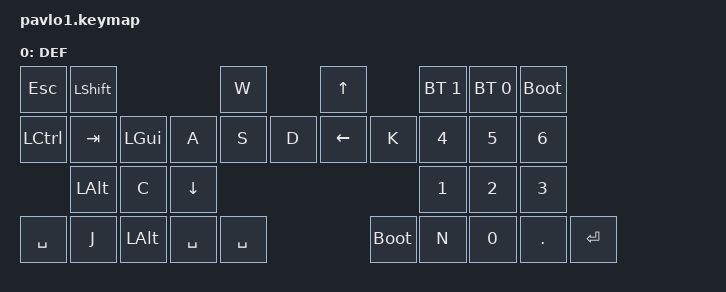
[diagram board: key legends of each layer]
/*
 * Copyright (c) 2020 The ZMK Contributors
 *
 * SPDX-License-Identifier: MIT
 */

#include <behaviors.dtsi>
#include <dt-bindings/zmk/keys.h>
#include <dt-bindings/zmk/bt.h>

/ {
    combos {
        compatible = "zmk,combos";

        Escape {
            bindings = <&kp ESC>;
            key-positions = <1 3>;
        };

    };

    keymap {
        compatible = "zmk,keymap";

        DEF {
            bindings = <
&kp ESC         &kp LEFT_SHIFT                          &kp W                                         &kp UP                 &bt BT_SEL 1    &bt BT_SEL 0    &bootloader
&kp LCTRL       &kp TAB         &kp LGUI      &kp A     &kp S         &kp D                &kp LEFT                &kp K     &kp NUMBER_4    &kp NUMBER_5    &kp NUMBER_6
                &kp LEFT_ALT                            &kp C                                         &kp DOWN               &kp NUMBER_1    &kp NUMBER_2    &kp NUMBER_3
&kp SPACE       &kp J                                   &kp LEFT_ALT  &kp SPACE            &kp SPACE  &bootloader  &kp N     &kp N0          &kp DOT         &kp ENTER
            >;
        };
    };
};


